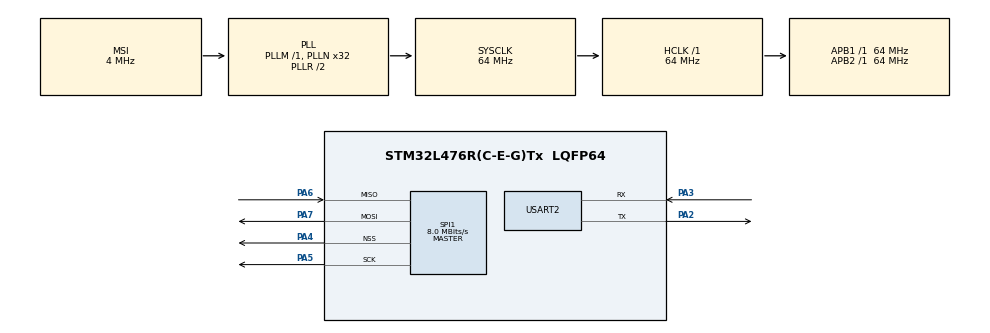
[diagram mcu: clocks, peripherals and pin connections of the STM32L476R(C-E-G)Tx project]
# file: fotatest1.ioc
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Mcu.Family=STM32L4
Mcu.Name=STM32L476R(C-E-G)Tx
Mcu.Package=LQFP64
NVIC.PriorityGroup=NVIC_PRIORITYGROUP_4
NVIC.USART2_IRQn=true\:0\:0\:false\:false\:true\:true\:true
PA2.Mode=Asynchronous
PA2.Signal=USART2_TX
PA3.Mode=Asynchronous
PA3.Signal=USART2_RX
PA4.Mode=NSS_Signal_Hard_Output
PA4.Signal=SPI1_NSS
PA5.Mode=Full_Duplex_Master
PA5.Signal=SPI1_SCK
PA6.Mode=Full_Duplex_Master
PA6.Signal=SPI1_MISO
PA7.Mode=Full_Duplex_Master
PA7.Signal=SPI1_MOSI
ProjectManager.HeapSize=0x200
ProjectManager.StackSize=0x400
ProjectManager.TargetToolchain=Makefile
RCC.AHBFreq_Value=64000000
RCC.APB1Freq_Value=64000000
RCC.APB1TimFreq_Value=64000000
RCC.APB2Freq_Value=64000000
RCC.APB2TimFreq_Value=64000000
RCC.CortexFreq_Value=64000000
RCC.HCLKFreq_Value=64000000
RCC.HSE_VALUE=8000000
RCC.HSI_VALUE=16000000
RCC.LSE_VALUE=32768
RCC.MSI_VALUE=4000000
RCC.PLLN=32
RCC.SYSCLKFreq_VALUE=64000000
RCC.SYSCLKSource=RCC_SYSCLKSOURCE_PLLCLK
RCC.VCOOutputFreq_Value=128000000
SPI1.BaudRatePrescaler=SPI_BAUDRATEPRESCALER_8
SPI1.CalculateBaudRate=8.0 MBits/s
SPI1.DataSize=SPI_DATASIZE_8BIT
SPI1.Direction=SPI_DIRECTION_2LINES
SPI1.Mode=SPI_MODE_MASTER
SPI1.NSSPMode=SPI_NSS_PULSE_DISABLE
SPI1.VirtualNSS=VM_NSSHARD
SPI1.VirtualType=VM_MASTER
USART2.VirtualMode-Asynchronous=VM_ASYNC
board=custom

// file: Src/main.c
/* USER CODE BEGIN Header */
/*

  /$$$$$$  /$$$$$$$  /$$$$$$       /$$   /$$ /$$$$$$$  /$$$$$$$   /$$$$$$  /$$$$$$$$ /$$$$$$$$
 /$$__  $$| $$__  $$|_  $$_/      | $$  | $$| $$__  $$| $$__  $$ /$$__  $$|__  $$__/| $$_____/
| $$  \__/| $$  \ $$  | $$        | $$  | $$| $$  \ $$| $$  \ $$| $$  \ $$   | $$   | $$
|  $$$$$$ | $$$$$$$/  | $$        | $$  | $$| $$$$$$$/| $$  | $$| $$$$$$$$   | $$   | $$$$$
 \____  $$| $$____/   | $$        | $$  | $$| $$____/ | $$  | $$| $$__  $$   | $$   | $$__/
 /$$  \ $$| $$        | $$        | $$  | $$| $$      | $$  | $$| $$  | $$   | $$   | $$
|  $$$$$$/| $$       /$$$$$$      |  $$$$$$/| $$      | $$$$$$$/| $$  | $$   | $$   | $$$$$$$$
 \______/ |__/      |______/       \______/ |__/      |_______/ |__/  |__/   |__/   |________/

*/
/* Used for LoRa Firmware Update Over the Air project. Embedded system course University of Trento.
This application is able to update the firmware of another STM32 via SPI thanks to the following steps:
1) SYNC of the two boards
2) MASS ERASE of the receiver flash memory
3) WRITING firmware to the second STM32 memory*/
/**
  ******************************************************************************
  * @file           : main.c
  * @brief          : Main program body
  ******************************************************************************
  * @attention
  *
  * <h2><center>&copy; Copyright (c) 2020 STMicroelectronics.
  * All rights reserved.</center></h2>
  *
  * This software component is licensed by ST under BSD 3-Clause license,
  * the "License"; You may not use this file except in compliance with the
  * License. You may obtain a copy of the License at:
  *                        opensource.org/licenses/BSD-3-Clause
  *
  ******************************************************************************
  */
/* USER CODE END Header */

#include "main.h"

/* USER CODE BEGIN Includes */
#include <stdio.h>
#include <string.h>
#include "parsed_hex.h" // Auto-generated header file with addresses and data

/* USER CODE END Includes */

SPI_HandleTypeDef hspi1;
UART_HandleTypeDef huart2;

void SystemClock_Config(void);
static void MX_GPIO_Init(void);
static void MX_SPI1_Init(void);
static void MX_USART2_UART_Init(void);

int main(void)
{

  /* MCU Configuration--------------------------------------------------------*/

  HAL_Init();

  /* Configure the system clock */
  SystemClock_Config();

  /* Initialize all configured peripherals */
  MX_GPIO_Init();
  MX_SPI1_Init();
  MX_USART2_UART_Init();

  /* Infinite loop */
  /* USER CODE BEGIN WHILE */
  char txt[100];                                                   // Debug buffer
  size_t arr_aaaa_length = sizeof(arr_aaaa) / sizeof(arr_aaaa[0]); // Addresses array size
  uint8_t status_flag = 0;                                         // Flag to pass from one to another status
  uint8_t dd_index = 0;                                            // Data index
  uint8_t aaaa_index = 0;                                          // Address indexI
  uint8_t ack_frame[3];                                            // ACK frame  to send
  uint8_t ack_resp[3];                                             // ACK frame for response
  uint8_t flag_stop = 0;                                           // Flag stopping code at the end of the writing process

  while (1)
  {
    // SYNC ROUTINE
    if (status_flag == 0)
    {
      // Send SYNC request
      uint8_t sync_frame[1];
      uint8_t sync_resp[1];
      sync_frame[0] = 0x5A;                      // SYNC frame
      while (hspi1.State != HAL_SPI_STATE_READY) // Wait until SPI is not busy
        ;
      HAL_SPI_TransmitReceive(&hspi1, sync_frame, &sync_resp, 1, 1000); // Send + Rec SYNC
      // Debug SYNC resp
      sprintf(txt, "RESP_OF_SYNC: %02x\r\n", sync_resp[0]);
      HAL_UART_Transmit(&huart2, (uint8_t *)txt, strlen(txt), 1000);

      //Send ACK request
      ack_frame[0] = 0x00;                       // ACK frame [0]
      ack_frame[1] = 0xFF;                       // ACK frame [1]
      ack_frame[2] = 0x79;                       // ACK frame [2]
      while (hspi1.State != HAL_SPI_STATE_READY) // Wait until SPI is not busy
        ;
      HAL_SPI_TransmitReceive(&hspi1, ack_frame, &ack_resp, 3, 1000); // Send + Rec ACK
      if (sync_resp[0] == 0xA5 && ack_resp[1] == 0x79)                // If it is a positive response
      {
        status_flag = 1; // Pass to MASS ERASE ROUTINE
        // Debug ACK of SYNC
        sprintf(txt, "ACK_OF_SYNC: %02x || %02x || %02x\r\n", ack_resp[0], ack_resp[1], ack_resp[2]);
        HAL_UART_Transmit(&huart2, (uint8_t *)txt, strlen(txt), 1000);
      }
    }
    // MASS ERASE ROUTINE
    else if (status_flag == 1)
    {
      uint8_t cmd_frame[3];
      uint8_t cmd_resp[3];
      cmd_frame[0] = 0x5A;                       // ERASE CMD frame [0]
      cmd_frame[1] = 0x44;                       // ERASE CMD frame [1]
      cmd_frame[2] = 0xBB;                       // ERASE CMD frame [2]
      while (hspi1.State != HAL_SPI_STATE_READY) // Wait until SPI is not busy
        ;
      HAL_SPI_TransmitReceive(&hspi1, cmd_frame, &cmd_resp, 3, 1000); // Send + Rec ERASE CMD
      // Debug ERASE CMD resp
      sprintf(txt, "RESP_OF_CMD_ER: %02x || %02x || %02x\r\n", cmd_resp[0], cmd_resp[1], cmd_resp[2]);
      HAL_UART_Transmit(&huart2, (uint8_t *)txt, strlen(txt), 1000);

      ack_frame[0] = 0x00;                       // ACK frame [0]
      ack_frame[1] = 0x00;                       // ACK frame [1]
      ack_frame[2] = 0x79;                       // ACK frame [2]
      while (hspi1.State != HAL_SPI_STATE_READY) // Wait until SPI is not busy
        ;
      HAL_SPI_TransmitReceive(&hspi1, ack_frame, &ack_resp, 3, 1000); // Send + Rec ACK
                                                                      // Debug ACK of ERASE CMD
      sprintf(txt, "ACK_OF_CMD_ER: %02x || %02x || %02x\r\n", ack_resp[0], ack_resp[1], ack_resp[2]);
      HAL_UART_Transmit(&huart2, (uint8_t *)txt, strlen(txt), 1000);
      if (ack_resp[1] == 0x79) // If it is a positive response
      {
        uint8_t erase_frame[3];
        uint8_t erase_resp[3];
        erase_frame[0] = 0xFF;                     // ERASE OPT frame [0]
        erase_frame[1] = 0xFF;                     // ERASE OPT frame [1]
        erase_frame[2] = 0x00;                     // ERASE OPT frame [2]
        while (hspi1.State != HAL_SPI_STATE_READY) // Wait until SPI is not busy
          ;
        HAL_SPI_TransmitReceive(&hspi1, erase_frame, &erase_resp, 3, 1000); // Send + Rec ERASE OPT
        // Debug ERASE OPT resp
        sprintf(txt, "RESP_OF_ERASE: %02x || %02x || %02x\r\n", erase_resp[0], erase_resp[1], erase_resp[2]);
        HAL_UART_Transmit(&huart2, (uint8_t *)txt, strlen(txt), 1000);

        ack_frame[0] = 0x00;                       // ACK frame [0]
        ack_frame[1] = 0xFF;                       // ACK frame [1]
        ack_frame[2] = 0x79;                       // ACK frame [2]
        while (hspi1.State != HAL_SPI_STATE_READY) // Wait until SPI is not busy
          ;
        HAL_SPI_TransmitReceive(&hspi1, ack_frame, &ack_resp, 3, 1000); // Send + Rec ACK
        // Debug ACK of ERASE OPT
        sprintf(txt, "ACK_OF_ERASE: %02x || %02x || %02x\r\n", ack_resp[0], ack_resp[1], ack_resp[2]);
        HAL_UART_Transmit(&huart2, (uint8_t *)txt, strlen(txt), 1000);

        status_flag = 2; // Pass to WRITE ROUTINE
      }
    }
    // WRITE ROUTINE
    else if (status_flag >= 2 & status_flag <= 3)
    {
      uint8_t data_resp[18];
      data_resp[3] = 0x00;

      while (data_resp[3] != 0x79) // Retry to write the same bytes until the ACK is positive
      {
        uint8_t cmd_frame[3];
        uint8_t cmd_resp[3];
        cmd_frame[0] = 0x5A;                       // WRITE CMD frame [0]
        cmd_frame[1] = 0x31;                       // WRITE CMD frame [1]
        cmd_frame[2] = 0xCE;                       // WRITE CMD frame [2]
        while (hspi1.State != HAL_SPI_STATE_READY) // Wait until SPI is not busy
          ;
        HAL_SPI_TransmitReceive(&hspi1, cmd_frame, &cmd_resp, 3, 1000); // Send + Rec WRITE CMD
        // Debug WRITE CMD resp
        sprintf(txt, "RESP_OF_CMD_WR: %02x || %02x || %02x\r\n", cmd_resp[0], cmd_resp[1], cmd_resp[2]);
        HAL_UART_Transmit(&huart2, (uint8_t *)txt, strlen(txt), 1000);

        ack_frame[0] = 0x00;                       // ACK frame [0]
        ack_frame[1] = 0x00;                       // ACK frame [1]
        ack_frame[2] = 0x79;                       // ACK frame [2]
        while (hspi1.State != HAL_SPI_STATE_READY) // Wait until SPI is not busy
          ;
        HAL_SPI_TransmitReceive(&hspi1, ack_frame, &ack_resp, 3, 1000); // Send + Rec ACK
        // Debug ACK resp
        sprintf(txt, "ACK_OF_CMD_WR: %02x || %02x || %02x\r\n", ack_resp[0], ack_resp[1], ack_resp[2]);
        HAL_UART_Transmit(&huart2, (uint8_t *)txt, strlen(txt), 1000);
        if (ack_resp[1] == 0x79 || ack_resp[1] == 0xA5) // If it is a positive response
        {

          uint8_t add_frame[5];
          uint8_t add_resp[5];
          uint8_t tmp_aaaa = 0;

          // Sending address 0x0800cccc + XOR of 0x0800cccc
          add_frame[0] = 0x08;                                              // ADDRESS frame [1]
          add_frame[1] = 0x00;                                              // ADDRESS frame [2]
          add_frame[2] = (arr_aaaa[aaaa_index] >> 8) & 0xFF;                // ADDRESS frame [3]
          add_frame[3] = arr_aaaa[aaaa_index] & 0xFF;                       // ADDRESS frame [4]
          add_frame[4] = 0x08 ^ add_frame[1] ^ add_frame[2] ^ add_frame[3]; // ADDRESS frame [5]
          aaaa_index = aaaa_index + 2;                                      // Prepare index for the next address
          while (hspi1.State != HAL_SPI_STATE_READY)                        // Wait until SPI is not busy
            ;
          HAL_SPI_TransmitReceive(&hspi1, add_frame, &add_resp, 5, 1000); // Send + Rec ADDRESS
          // Debug ADDRESS resp
          sprintf(txt, "RESP_OF_ADD: %02x || %02x || %02x || %02x || %02x\r\n", add_resp[0], add_resp[1], add_resp[2], add_resp[3], add_resp[4]);
          HAL_UART_Transmit(&huart2, (uint8_t *)txt, strlen(txt), 1000);
          // Debug ADDRESS values
          sprintf(txt, "ADDRESS: %02x || %02x || %02x || %02x\r\n", add_frame[0], add_frame[1], add_frame[2], add_frame[3]);
          HAL_UART_Transmit(&huart2, (uint8_t *)txt, strlen(txt), 1000);

          ack_frame[0] = 0x00;                       // ACK frame [0]
          ack_frame[1] = 0x00;                       // ACK frame [1]
          ack_frame[2] = 0x79;                       // ACK frame [2]
          while (hspi1.State != HAL_SPI_STATE_READY) // Wait until SPI is not busy
            ;
          HAL_SPI_TransmitReceive(&hspi1, ack_frame, &ack_resp, 3, 1000); // Send + Rec ACK
          // Debug ACK resp
          sprintf(txt, "ACK_OF_ADD: %02x || %02x || %02x\r\n", ack_resp[0], ack_resp[1], ack_resp[2]);
          HAL_UART_Transmit(&huart2, (uint8_t *)txt, strlen(txt), 1000);

          // Sending SIZE of data buffer + DATA to be written + XOR of size and data
          uint8_t data_frame[17];
          uint8_t frame_resp[17];
          data_frame[0] = 0x0F; // DATA frame [0] --> SIZE
          uint8_t data_xor[1];
          uint8_t xor_resp[1];
          data_xor[0] = data_frame[0]; // Set XOR initial value == SIZE

          uint8_t index = 1;
          uint8_t tmp_index = dd_index;
          for (size_t k = tmp_index; k < tmp_index + 4; k++) // Cycling array data with steps of 4
          {
            uint32_t to_parse = arr_dd[k]; // Storing data to parse [4 bytes]
            for (size_t i = 0; i < 4; i++) // For each byte of the data
            {
              data_frame[index] = (to_parse >> ((3 - i) * 8)) & 0xFF; // Write data to the buffer to send
              data_xor[0] = data_xor[0] ^ data_frame[index];          // Updating XOR values
              // Debug DATA values
              sprintf(txt, "DATA_DATA: %02x\r\n", data_frame[index]);
              HAL_UART_Transmit(&huart2, (uint8_t *)txt, strlen(txt), 1000);
              index++;
            }
            dd_index++;
          }
          // Debug XOR value
          sprintf(txt, "XOR_OF_ADD: %02x\r\n", data_xor[0]);
          HAL_UART_Transmit(&huart2, (uint8_t *)txt, strlen(txt), 1000);
          while (hspi1.State != HAL_SPI_STATE_READY) // Wait until SPI is not busy
            ;
          HAL_SPI_TransmitReceive(&hspi1, data_frame, &frame_resp, 17, 1000); // Send + Rec SIZE + DATA
          while (hspi1.State != HAL_SPI_STATE_READY)                          // Wait until SPI is not busy
            ;
          HAL_SPI_TransmitReceive(&hspi1, data_xor, &xor_resp, 1, 1000); // Send + Rec XOR byte
          // Debug DATA resp
          sprintf(txt, "RESP_OF_DATA: %02x || %02x || %02x || %02x\r\n", frame_resp[0], frame_resp[1], frame_resp[2], frame_resp[3]);
          HAL_UART_Transmit(&huart2, (uint8_t *)txt, strlen(txt), 1000);

          if (frame_resp[3] != 0x79) // If it is not a positive response
          {
            dd_index = dd_index - 4;     // Reset the data index to the current value
            aaaa_index = aaaa_index - 2; // Reset the index to the current value
          }

          ack_frame[0] = 0x00;                       // ACK frame [0]
          ack_frame[1] = 0x00;                       // ACK frame [1]
          ack_frame[2] = 0x79;                       // ACK frame [2]
          while (hspi1.State != HAL_SPI_STATE_READY) // Wait until SPI is not busy
            ;
          HAL_SPI_TransmitReceive(&hspi1, ack_frame, &ack_resp, 3, 1000); // Send + Rec ACK
          // Debug ACK resp
          sprintf(txt, "ACK_OF_DATA: %02x || %02x || %02x\r\n", ack_resp[0], ack_resp[1], ack_resp[2]);
          HAL_UART_Transmit(&huart2, (uint8_t *)txt, strlen(txt), 1000);
          // Debug DATA INDEX and STATUS FLAG
          sprintf(txt, "len: %d, %d\r\n", dd_index, status_flag);
          HAL_UART_Transmit(&huart2, (uint8_t *)txt, strlen(txt), 1000);
          // Debug ADDRESS INDEX and ADDRESS VALUE at that position
          sprintf(txt, "index: %d, %d\r\n", aaaa_index, arr_aaaa[aaaa_index]);
          HAL_UART_Transmit(&huart2, (uint8_t *)txt, strlen(txt), 1000);
          HAL_Delay(20); // Just for safety reason and make serial readable. Cuold be commented

          if (aaaa_index >= arr_aaaa_length) // If the WRITE PROCESS ends stop the code
          {
            status_flag = 5;
            return;
          }
        }
      }
      //status_flag = 5;
    }
    /* USER CODE END WHILE */

  }
}

void SystemClock_Config(void)
{
  RCC_OscInitTypeDef RCC_OscInitStruct = {0};
  RCC_ClkInitTypeDef RCC_ClkInitStruct = {0};
  RCC_PeriphCLKInitTypeDef PeriphClkInit = {0};

  /** Initializes the CPU, AHB and APB busses clocks
  */
  RCC_OscInitStruct.OscillatorType = RCC_OSCILLATORTYPE_MSI;
  RCC_OscInitStruct.MSIState = RCC_MSI_ON;
  RCC_OscInitStruct.MSICalibrationValue = 0;
  RCC_OscInitStruct.MSIClockRange = RCC_MSIRANGE_6;
  RCC_OscInitStruct.PLL.PLLState = RCC_PLL_ON;
  RCC_OscInitStruct.PLL.PLLSource = RCC_PLLSOURCE_MSI;
  RCC_OscInitStruct.PLL.PLLM = 1;
  RCC_OscInitStruct.PLL.PLLN = 32;
  RCC_OscInitStruct.PLL.PLLP = RCC_PLLP_DIV7;
  RCC_OscInitStruct.PLL.PLLQ = RCC_PLLQ_DIV2;
  RCC_OscInitStruct.PLL.PLLR = RCC_PLLR_DIV2;
  if (HAL_RCC_OscConfig(&RCC_OscInitStruct) != HAL_OK)
  {
    Error_Handler();
  }
  /** Initializes the CPU, AHB and APB busses clocks
  */
  RCC_ClkInitStruct.ClockType = RCC_CLOCKTYPE_HCLK | RCC_CLOCKTYPE_SYSCLK | RCC_CLOCKTYPE_PCLK1 | RCC_CLOCKTYPE_PCLK2;
  RCC_ClkInitStruct.SYSCLKSource = RCC_SYSCLKSOURCE_PLLCLK;
  RCC_ClkInitStruct.AHBCLKDivider = RCC_SYSCLK_DIV1;
  RCC_ClkInitStruct.APB1CLKDivider = RCC_HCLK_DIV1;
  RCC_ClkInitStruct.APB2CLKDivider = RCC_HCLK_DIV1;

  if (HAL_RCC_ClockConfig(&RCC_ClkInitStruct, FLASH_LATENCY_3) != HAL_OK)
  {
    Error_Handler();
  }
  PeriphClkInit.PeriphClockSelection = RCC_PERIPHCLK_USART2;
  PeriphClkInit.Usart2ClockSelection = RCC_USART2CLKSOURCE_PCLK1;
  if (HAL_RCCEx_PeriphCLKConfig(&PeriphClkInit) != HAL_OK)
  {
    Error_Handler();
  }
  /** Configure the main internal regulator output voltage
  */
  if (HAL_PWREx_ControlVoltageScaling(PWR_REGULATOR_VOLTAGE_SCALE1) != HAL_OK)
  {
    Error_Handler();
  }
}

static void MX_SPI1_Init(void)
{

  /* SPI1 parameter configuration*/
  hspi1.Instance = SPI1;
  hspi1.Init.Mode = SPI_MODE_MASTER;
  hspi1.Init.Direction = SPI_DIRECTION_2LINES;
  hspi1.Init.DataSize = SPI_DATASIZE_8BIT;
  hspi1.Init.CLKPolarity = SPI_POLARITY_LOW;
  hspi1.Init.CLKPhase = SPI_PHASE_1EDGE;
  hspi1.Init.NSS = SPI_NSS_HARD_OUTPUT;
  hspi1.Init.BaudRatePrescaler = SPI_BAUDRATEPRESCALER_8;
  hspi1.Init.FirstBit = SPI_FIRSTBIT_MSB;
  hspi1.Init.TIMode = SPI_TIMODE_DISABLE;
  hspi1.Init.CRCCalculation = SPI_CRCCALCULATION_DISABLE;
  hspi1.Init.CRCPolynomial = 7;
  hspi1.Init.CRCLength = SPI_CRC_LENGTH_DATASIZE;
  hspi1.Init.NSSPMode = SPI_NSS_PULSE_DISABLE;
  if (HAL_SPI_Init(&hspi1) != HAL_OK)
  {
    Error_Handler();
  }
}

static void MX_USART2_UART_Init(void)
{

  huart2.Instance = USART2;
  huart2.Init.BaudRate = 115200;
  huart2.Init.WordLength = UART_WORDLENGTH_8B;
  huart2.Init.StopBits = UART_STOPBITS_1;
  huart2.Init.Parity = UART_PARITY_NONE;
  huart2.Init.Mode = UART_MODE_TX_RX;
  huart2.Init.HwFlowCtl = UART_HWCONTROL_NONE;
  huart2.Init.OverSampling = UART_OVERSAMPLING_16;
  huart2.Init.OneBitSampling = UART_ONE_BIT_SAMPLE_DISABLE;
  huart2.AdvancedInit.AdvFeatureInit = UART_ADVFEATURE_NO_INIT;
  if (HAL_UART_Init(&huart2) != HAL_OK)
  {
    Error_Handler();
  }
}

static void MX_GPIO_Init(void)
{

  /* GPIO Ports Clock Enable */
  __HAL_RCC_GPIOA_CLK_ENABLE();
}

void Error_Handler(void)
{
  /* USER CODE BEGIN Error_Handler_Debug */
  /* User can add his own implementation to report the HAL error return state */
  while (1)
  {
    HAL_UART_Transmit(&huart2, (uint8_t *)"ERROR\r\n", strlen("ERROR\r\n"), 1000);
  }
  /* USER CODE END Error_Handler_Debug */
}

/************************ (C) COPYRIGHT STMicroelectronics *****END OF FILE****/
